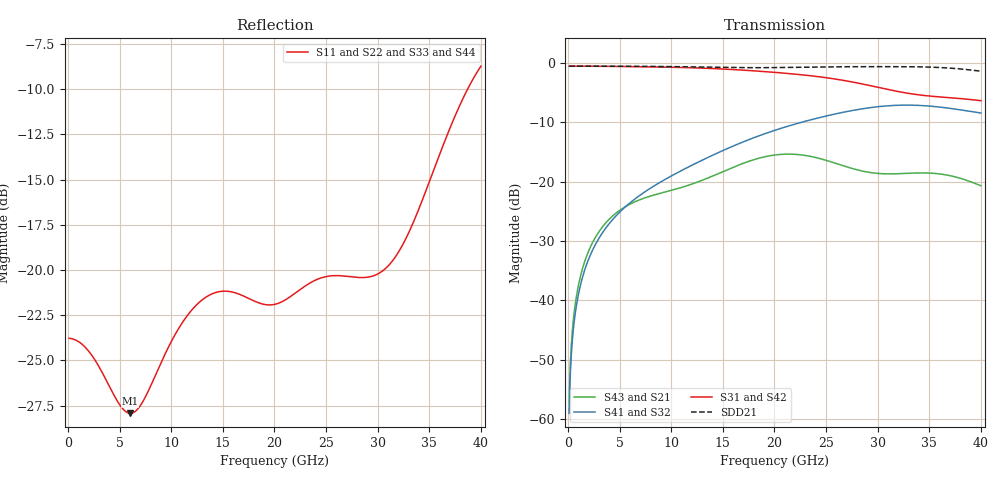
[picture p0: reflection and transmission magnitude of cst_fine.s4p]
! E_s8_L1L8_p1000_round_g4: pair L1→L8, pitch 1 mm, two round antipads, 4 GND vias
! stackup: 8-layer 1.6 mm FR-4 (generic)
! ports: 1 P near, 2 N near, 3 P far, 4 N far
! CST Studio Suite 2025.5 Release from 2025-05-30, time domain (FIT, hexahedral, PBA), 432960 mesh cells, 91 s
! mesh: {'lpw': 30.0, 'lpb': 30.0, 'minstep': 0.0, 'ratio': 20}; ports: port 1 (face); port 2 (face); port 3 (face); port 4 (face)
! interpolated from CST's 1001 samples to the case grid
# Hz S RI R 50
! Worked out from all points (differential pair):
!   400 points, 100 MHz to 40 GHz, reference 50 ohm
!   strongest paths, dB at 100 MHz, 10.1 GHz, 20.1 GHz, 30.1 GHz, 40 GHz:
!     S31: -0.6, -0.8, -1.6, -4.2, -6.4
!     S42: -0.6, -0.8, -1.6, -4.2, -6.4
!     S41: -59.0, -19.0, -11.3, -7.4, -8.5
!     S32: -59.0, -19.0, -11.3, -7.4, -8.5
!     S43: -57.3, -21.4, -15.5, -18.7, -20.7
!     S21: -57.3, -21.4, -15.5, -18.7, -20.7
!   taken as a pair (ports 1,2 in; 3,4 out), SDD21 dB: -0.6, -0.7, -0.8, -0.7, -1.4
!   lowest |S11| = -27.9 dB at 6 GHz (marker M1), VSWR 1.08, Z = 48.2 + j3.49 ohm
!   |S11| at or under -10 dB: start of sweep to 38.71 GHz
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1e8  -0.0647 0.00175  0.000295 0.00133  0.9343 -0.0354  -5.26e-05 -0.00112
     0.000295 0.00133  -0.0647 0.00175  -5.26e-05 -0.00112  0.9343 -0.0354
     0.9343 -0.0354  -5.26e-05 -0.00112  -0.0647 0.00175  0.000295 0.00133
     -5.26e-05 -0.00112  0.9343 -0.0354  0.000295 0.00133  -0.0647 0.00175
6e9  -0.0173 0.0362  0.048 -0.0432  -0.5995 -0.7079  -0.0484 0.045
     0.048 -0.0432  -0.0174 0.0362  -0.0484 0.045  -0.5995 -0.7079
     -0.5995 -0.7079  -0.0484 0.045  -0.0174 0.0362  0.048 -0.0432
     -0.0484 0.045  -0.5995 -0.7079  0.048 -0.0432  -0.0174 0.0362
1.23e10  0.0702 0.0369  -0.097 -0.00608  -0.0347 0.9041  0.1413 0.000526
         -0.097 -0.00608  0.0702 0.0369  0.1413 0.000526  -0.0347 0.9041
         -0.0347 0.9041  0.1413 0.000526  0.0702 0.0369  -0.097 -0.00608
         0.1413 0.000526  -0.0347 0.9041  -0.097 -0.00608  0.0702 0.0369
1.62e10  0.0545 -0.0671  -0.0173 0.1329  0.8684 0.097  0.00974 -0.2021
         -0.0173 0.1329  0.0545 -0.0671  0.00974 -0.2021  0.8684 0.097
         0.8684 0.097  0.00974 -0.2021  0.0545 -0.0671  -0.0173 0.1329
         0.00974 -0.2021  0.8684 0.097  -0.0173 0.1329  0.0545 -0.0671
2.01e10  -0.0221 -0.0774  0.1668 0.0145  0.1481 -0.8148  -0.2709 -0.00703
         0.1668 0.0145  -0.0221 -0.0774  -0.2709 -0.00703  0.1481 -0.8148
         0.1481 -0.8148  -0.2709 -0.00703  -0.022 -0.0774  0.1668 0.0145
         -0.2709 -0.00703  0.1481 -0.8148  0.1668 0.0145  -0.022 -0.0774
2.81e10  -0.0528 0.0794  -0.1237 0.0171  -0.1489 0.6565  0.3928 -0.0939
         -0.1237 0.0171  -0.0528 0.0794  0.3928 -0.0939  -0.1489 0.6565
         -0.1489 0.6565  0.3928 -0.0939  -0.0528 0.0794  -0.1237 0.017
         0.3928 -0.0939  -0.1489 0.6565  -0.1237 0.017  -0.0528 0.0794
4e10  0.1403 -0.3384  -0.0664 -0.0638  -0.4039 -0.2576  0.2523 0.2803
      -0.0664 -0.0638  0.1403 -0.3384  0.2523 0.2803  -0.4039 -0.2576
      -0.4039 -0.2576  0.2523 0.2803  0.1403 -0.3384  -0.0664 -0.0638
      0.2523 0.2803  -0.4039 -0.2576  -0.0664 -0.0638  0.1403 -0.3384
